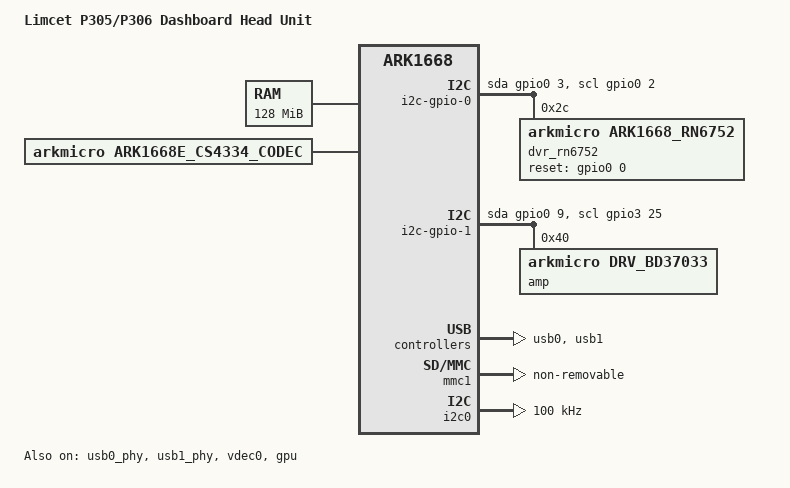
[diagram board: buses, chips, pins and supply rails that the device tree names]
// SPDX-License-Identifier: GPL-2.0
/dts-v1/;
#include "ark1668.dtsi"
#include "ark1668-pinctrl.dtsi"
#include <dt-bindings/gpio/gpio.h>

/ {
	model = "Limcet P305/P306 Dashboard Head Unit";
	compatible = "arkmicro,ark1668-limcet", "arkmicro,ark1668";

	memory {
		reg = <0x0 0x8000000>; // 128MB RAM
	};

	// Reversing signal detection -- NOT a SoC GPIO on this product, and
	// the carback node above (removed 2026-07-17) never should have had
	// one. docs/HARDWARE_AND_SOC_REFERENCE.md §7 traced this to ground:
	// the real kernel's `carback` platform_device has an all-zero
	// platform_data struct (no GPIO baked in), and MsnCoreApp's active
	// MCU adapter for this product (MCUAdapter_BoxP300, McuType=6) never
	// touches GPIOOperater for it -- reverse-gear detection happens
	// entirely on the companion STM32F105 MCU (wired directly to the
	// vehicle's reverse-light circuit, confirmed by physical board
	// inspection too), which just sends a `backcar enable/disable`
	// command to the SoC over the existing HS-UART arktool link
	// (mcu_serial below). Its former detect-gpios (&gpio0 5) was
	// pinctrl pin 5 = LCD r3 on real hardware -- a silent conflict with
	// the display, for a GPIO that was never real in the first place.

	// ARK1680 on-SoC resistive ADC touchscreen — this is the touch path
	// this unit's stock firmware actually selects (see
	// docs/boot_experiment_log.md "ROOT CAUSE FOUND" and
	// docs/ARK1680_TS_REVERSE_ENGINEERING.md), not the GT911 node below.
	tsc: tsc@e4500000 {
		compatible = "arkmicro,ark1680-ts";
		reg = <0xe4500000 0x40>;
		interrupt-parent = <&vicl>;
		interrupts = <4>;
	};

	mcu_serial: mcu-serial@0 {
		compatible = "arkmicro,ark-mcu-serial";
	};

	tool_serial: tool-serial@0 {
		compatible = "arkmicro,ark-tool-serial";
	};

	// Bit-banged I2C Bus 0 (Analog I2C)
	i2c-gpio-0 {
		#address-cells = <1>;
		#size-cells = <0>;
		compatible = "i2c-gpio";
		gpios = <&gpio0 3 0		/* SDA (GPIO 3) */
			 &gpio0 2 0		/* SCL (GPIO 2) */
		>;
		i2c-gpio,delay-us = <6>;
		i2c-gpio,scl-output-only;

		// Richwave RN6752 AHD Camera Decoder
		dvr_rn6752: dvr_rn6752@2c {
			compatible = "arkmicro,ark1668_rn6752";
			reg = <0x2c>;
			reset-gpio = <&gpio0 0 0>;
			carback-config = <1>;
		};

		// Goodix GT911 Touchscreen Controller -- disabled (2026-07-17).
		// This unit's real touch path is the ARK1680 on-SoC resistive
		// controller (tsc@e4500000 above), not this node -- already
		// documented there. A full pin audit against real stock
		// hardware confirmed it further: every one of this node's four
		// GPIO/pin assignments lands on a pin something else genuinely
		// owns on real hardware -- irq-gpios (&gpio0 4) is pinctrl pin
		// 4 = LCD r2, reset-gpios (&gpio2 16) is pinctrl pin 80 =
		// pwm-2, and its I2C bus (i2c-gpio-0 below) sits on LCD r0/r1.
		// Not "slightly wrong wiring" -- a node with zero legitimate
		// pins on this board, almost certainly carried over unmodified
		// from a different board variant. Left in place but disabled
		// rather than deleted, in case pins are ever confirmed for a
		// real capacitive-touch variant of this board.
		gt911: touchscreen@5d {
			compatible = "goodix,gt911";
			reg = <0x5d>;
			interrupt-parent = <&gpio0>;
			interrupts = <4 IRQ_TYPE_EDGE_FALLING>;
			irq-gpios = <&gpio0 4 GPIO_ACTIVE_HIGH>;
			reset-gpios = <&gpio2 16 GPIO_ACTIVE_HIGH>;
			touchscreen-inverted-x;
			status = "disabled";
		};

	};

	// Bit-banged I2C Bus 1
	i2c-gpio-1 {
		#address-cells = <1>;
		#size-cells = <0>;
		compatible = "i2c-gpio";
		gpios = <&gpio0 9 0		/* SDA (GPIO 9) */
			 &gpio3 25 0		/* SCL (GPIO 121) */
		>;
		i2c-gpio,delay-us = <6>;
		i2c-gpio,scl-output-only;

		// ROHM BD37033FV Sound Processor. Moved back here from
		// i2c-gpio-0 (2026-07-13) after getting a live root shell on
		// real stock hardware (via the msn_autocopy telnetd payload)
		// and running i2c-scan directly against stock's own
		// /dev/i2c-*: /sys/bus/i2c/devices/2-0041 shows a kernel
		// i2c_client bound on stock's i2c-gpio2 -- i.e. exactly these
		// SDA=GPIO9/SCL=GPIO121 pins, not i2c-gpio-0/GPIO2-3 where an
		// earlier session moved it based on a misread of i2c-scan's
		// XX marker (XX only means a driver is bound, not that the
		// device answers -- see docs/I2C_GPIO0_LCD_PIN_CONFLICT.md).
		// Bus placement confirmed correct via that path. CONFIG_SND_
		// SOC_BD37033_NOP must stay OFF, this is real, addressable
		// hardware.
		//
		// Address corrected 0x41 -> 0x40 (2026-07-14). The 0x41 value
		// came only from disassembling stock's *kernel* board file's
		// i2c_board_info struct + the i2c-scan XX marker above --
		// both just prove a kernel i2c_client got registered at that
		// address, not that the chip answers there (same class of
		// mistake the XX-marker note above already flags for other
		// devices). Ground truth is what the vendor's own shipped
		// userspace audio-control code actually uses at runtime:
		// disassembly of libMsnSound.so's Sound_BD37033::Sound_BD37033()
		// constructor shows `I2COperator(bus=2, addr=0x80)`, and
		// libMsnCommons.so's arki2c_open() does `ioctl(fd, I2C_SLAVE,
		// addr >> 1)` -- i.e. the real wire address is 0x80 >> 1 =
		// 0x40, matching the BD37033 datasheet's public 7-bit address.
		// This also fully explains the persistent bd37033_write_byte
		// timeout seen throughout this investigation (including on
		// stock's own kernel dmesg, see docs/I2C_GPIO0_LCD_PIN_CONFLICT.md):
		// stock's *kernel-level* i2c_client was always misaddressed
		// too, its writes just never mattered because stock's real
		// control path bypasses the kernel driver entirely via direct
		// /dev/i2c-2 ioctls at the correct address. Not yet hardware-
		// retested with this fix.
		amp: drv_bd37033@40 {
			status = "okay";
			compatible = "arkmicro,drv_bd37033";
			reg = <0x40>;
			flout-gain = <65>;
			frout-gain = <65>;
			rlout-gain = <65>;
			rrout-gain = <65>;
			#sound-dai-cells = <0>;
		};
	};

	// External Cirrus Logic CS4334 I2S DAC. Stock's own board file binds
	// this as a second dai-link ("cs4334 <-> ark_i2s_dev.1 mapping ok" in
	// docs/logs/dmesg live device kernel 3.4 dmeg.txt) but it never
	// produces a usable PCM device -- live `aplay -l` on stock hardware
	// (docs/logs/audio log stock.txt) shows exactly ONE playback device,
	// "card 0: ARKSDDAC [ARK-SDDAC], device 0: SDDAC sddac-hifi-0" --
	// i.e. stock's actual, working playback path is the INTERNAL SDDAC
	// (ark_i2s_dev.0), not CS4334. The 2026-07-16 pivot to CS4334 as the
	// primary playback dai-link (based on the KERNEL_REFERENCE.md module
	// table + that "mapping ok" line alone) was the wrong turn -- same
	// class of mistake as trusting an I2C "XX" marker or a DAI mapping
	// line as proof of a *working* path rather than just a *registered*
	// one (feedback_bootlog_evidence_weak). Reverted below; this node
	// kept (unreferenced) since it's harmless and stock's own driver
	// graph still includes it, even though it's a dead end for audio.
	cs4334_codec: cs4334-codec {
		compatible = "arkmicro,ark1668e_cs4334_codec";
		#sound-dai-cells = <0>;
	};

	// Audio Card configuration
	sound {
		compatible = "simple-audio-card";
		simple-audio-card,format = "i2s";
		// Matches stock's card name exactly (soc-audio.0 machine driver,
		// "ASoC machine ARK-SDDAC" in dmesg / "card 0: ARKSDDAC
		// [ARK-SDDAC]" in aplay -l) -- purely cosmetic/diagnostic parity,
		// not required for function.
		simple-audio-card,name = "ARK-SDDAC";

		// BD37033 (&amp) is control-only from this card's point of view --
		// no I2S DAI stream of its own, just I2C-driven mixer controls
		// ("PA Volume" etc, see sound/soc/arkmicro/BD37033.c). Without
		// listing it as an aux-dev, devm_snd_soc_register_component()
		// still registers the component driver (see bd37033_drv_probe),
		// but its controls are only ever added to a card's kcontrol list
		// when the component is bound into that card -- which never
		// happened here, since no dai-link below references &amp. That's
		// why "PA Volume"/"PA Mute" never appeared in `amixer scontrols`
		// even on boots where the I2S data path and I2C bus were both
		// fine (2026-07-14, see docs/AUDIO_SUBSYSTEM_INVESTIGATION.md).
		simple-audio-card,aux-devs = <&amp>;

		// DAC/playback link listed FIRST (2026-07-13) so it lands on
		// PCM device 0, matching /etc/asound.conf's hardcoded
		// dmix slave "hw:0,0" -- simple-audio-card assigns device
		// numbers by dai-link order, and with ADC first the playback
		// device landed on hw:0,1 instead, causing every dmix/softvol
		// PCM to fail with "unable to open slave" at MsnCoreApp
		// startup (see docs/AUDIO_SUBSYSTEM_INVESTIGATION.md). Only
		// the DTS order changed here; asound.conf is untouched
		// (shared with stock, which the reg errors elsewhere suggest
		// expects device 0 to be playback).
		simple-audio-card,dai-link@0 { /* I2S DAC link -- internal SDDAC, stock's real playback path */
			simple-audio-card,stream-name = "sddac-hifi";
			bitclock-master = <&playback_cpu>;
			frame-master = <&playback_cpu>;
			playback_cpu: cpu {
				sound-dai = <&i2s_dac>;
			};
			playback_codec: codec {
				sound-dai = <&sddac>;
			};
		};
		simple-audio-card,dai-link@1 { /* I2S ADC link */
			cpu {
				sound-dai = <&i2s_adc>;
			};
			codec {
				sound-dai = <&sdadc>;
			};
		};
	};
};

&usb0_phy {
	compatible = "usb-nop-xceiv";
	#phy-cells = <0>;
	status = "okay";
};

&usb1_phy {
	compatible = "usb-nop-xceiv";
	#phy-cells = <0>;
	status = "okay";
};

&usb0 {
	status = "okay";
};

&usb1 {
	/* interrupts = <40>, <39> (added 2026-07-16, bundled into an
	 * unrelated I2S commit with no explanation) was wrong -- vich
	 * (arch/arm/boot/dts/ark1668.dtsi's interrupt-parent for this node)
	 * is a single arm,pl192-vic with only 32 lines (#interrupt-cells=1,
	 * valid range 0-31). 40 and 39 are out of range for that domain.
	 * 40-32=8 and 39-32=7 exactly match ark1668.dtsi's original values
	 * for this node -- this override looks like a global/SoC-wide
	 * interrupt-numbering reference (where vich's lines might be
	 * documented as a conceptual 32-63) mistakenly used as the raw,
	 * VIC-local interrupt number this property actually needs. This is
	 * the direct cause of "musb-ark e0400000.usb: Failed to get irq" /
	 * "probe of e0400000.usb failed with error -22", seen in every
	 * single boot log since this override was added -- confirmed the
	 * onboard WiFi module and the external-facing USB port are on
	 * separate physical controllers (usb0/usb1), and this is why they
	 * couldn't work at the same time: usb1 never successfully probed at
	 * all. Dropping the override restores the known-good base values. */
	status = "okay";
};

// Console debug UART
&uart0 {
	use-in-kernel;
	use-for-tool;
};

&uart1 {
	status = "disabled";
};

// High-speed MCU Communication UART
&uart3 {
	use-in-kernel;
	use-for-mcu;
};

// LCD Framebuffer Configuration
//
// pinctrl-0 reverted to the stock full pinctrl_lcd_rgb888 group
// (2026-07-17). A previous commit (cce2b32e7) swapped this for a custom
// pinctrl_lcd_prado group that dropped r0, r1, and r7 -- 3 of the 8
// red-channel pins, including the MSB -- to free GPIO 2/3/9 for
// i2c-gpio-0/i2c-gpio-1 bit-banging. That justification cited a doc
// (docs/I2C_GPIO0_LCD_PIN_CONFLICT.md) that was never actually created
// -- the pin choice was never validated against real board wiring, it
// was just assumed from the DTS file's first commit onward. Losing the
// red MSB while green/blue stayed full 8-bit produced visible red
// banding/overlay on real hardware. Since the framebuffer is still
// programmed as 32bpp/RGB888 (bits-per-pixel below), the LCD controller
// was never told to actually run at a reduced depth either -- pins were
// just silently dropped from pinctrl while the peripheral kept shifting
// out a full 24-bit-wide signal.
//
// This also very likely explains the chronic i2c-gpio-0/i2c-gpio-1
// unreliability seen throughout this project (Goodix-TS i2c failures,
// bd37033 i2c_transfer timeouts on every boot) -- those buses share
// GPIO 2/3/9 with the LCD's red channel, so the LCD controller actively
// toggling those pins as pixel timing and the kernel bit-banging I2C on
// them at the same time would corrupt both. The SoC has a real, separate
// hardware I2C controller (i2c0 @ 0xe4300000, pinctrl_i2c0 on
// ARK_PBANK_2 pins 6/7, see ark1668-pinctrl.dtsi) that doesn't touch any
// LCD pin -- moving GT911/RN6752/BD37033 onto it is a promising follow-up
// but needs an i2c-scan on hardware first to confirm those devices are
// actually wired to i2c0's pins before committing to it.
&lcdc {
	display = <&display0>;
	pinctrl-names = "default";
	pinctrl-0 = <&pinctrl_lcd_base &pinctrl_lcd_rgb888>;

	display0: display@0 {
		interface-type = "TTL";
		lvds-con = <0x160fd>;
		bits-per-pixel = <32>;
		power-control-gpio = <&gpio2 17 GPIO_ACTIVE_HIGH>; /* LCD power enable pin (GPIO 81) */
		lcd-wiring-mode = "BGR";
		lcdcon-backlight;
		pwms = <&pwm0 1 50000>; /* Backlight PWM Channel 1 */
		pwm-names = "backlight";
		backlight-value = <20>;
		backlight-delay = <200>;

		display-timings {
			native-mode = <&timing0>;
			timing0: timing0 {
				/* Was guessed/wrong -- corrected 2026-07-18 to match
				 * Prado's own real, dumped panel timing exactly:
				 * firmware_source/prado_reconstructed/mtd4_arkdata/
				 * arkdata.ini, [LCD_TIMMING]/[LCD_CLOCK] for
				 * ScreenId=0 (the authoritative Stage-1 timing
				 * source, see docs/DISPLAY_SUBSYSTEM.md). hfront-porch
				 * was 210 here vs the real HFP=25 -- 8x too large --
				 * and every other porch/sync-length value was also
				 * off by a large margin. Wrong back-porch/sync-length
				 * shifts where the active video window starts
				 * relative to the sync pulses, which is exactly what
				 * produces a visibly offset image. clock-frequency
				 * corrected to CLKFreq/CLKDIV1 = 330000000/11 =
				 * 30000000 (was 33000000). Sync polarities
				 * (hsync-active/vsync-active/de-active) were already
				 * correct, matching IHS=1/IVS=1/IOE=0 in the same
				 * arkdata.ini block -- left unchanged. */
				clock-frequency = <30000000>;
				hactive = <800>;
				vactive = <480>;
				hback-porch = <32>;
				hfront-porch = <25>;
				vback-porch = <29>;
				vfront-porch = <25>;
				hsync-len = <54>;
				vsync-len = <16>;
				hsync-active = <1>;
				vsync-active = <1>;
				de-active = <0>;
				pixelclk-active = <0>;
			};
		};
	};
};

&vdec0 {
	status = "okay";
};

// nand-on-flash-bbt (set in ark1668.dtsi) makes the kernel cache its own
// bad-block table to a reserved flash area and trust it on every later
// boot instead of rescanning -- stock's own driver never does this (it
// always rescans real factory OOB markers at boot instead of trusting a
// persisted cache), and a boot where this driver's ECC config couldn't
// correctly decode the existing cache didn't just fail to read it, it
// silently rescanned AND wrote a fresh, wrong table back to physical
// flash -- confirmed happening for real, reproducing the historical
// "417 false bad blocks" bug exactly (see
// prado-firmware-reconstruction's
// docs/historical/HANDOFF_nand_ecc_uboot_vs_kernel.md section 1's
// follow-up). Dropping the property here disables flash-based BBT
// caching entirely for this board -- every boot always does a fresh
// factory-marker scan, kept in RAM only, matching stock's own
// self-healing behavior and never persisting anything to flash again.
&nfc {
	/delete-property/ nand-on-flash-bbt;
};

// SDIO WiFi Controller
&mmc1 {
	status = "okay";
	non-removable;
	broken-cd;
};

&gpu {
	compatible = "arkmicro,vivante-hal", "fsl,imx6q-gpu";
	reg-names = "iobase_3d";
	interrupt-names = "irq_3d";
	clocks = <&gpuclk>, <&gpuclk>, <&gpuclk>, <&gpuclk>, <&gpuclk>, <&gpuclk>;
	clock-names = "gpu3d_clk", "gpu3d_axi_clk", "gpu3d_shader_clk", "gpu2d_clk", "gpu2d_axi_clk", "openvg_axi_clk";
	status = "okay";
};

// DIAGNOSTIC: enabled with no child devices so both this controller and
// i2c-gpio-0 (which still owns the gt911@5d + dvr_rn6752@2c nodes above) are
// live simultaneously. Lets a userspace i2c scan on /dev/i2c-* determine,
// empirically, which physical bus the GT911 actually ACKs on — see
// docs/boot_experiment_log.md "Systematic I2C bus verification" and
// tools/i2c-scan/. Do not attach gt911 here until that scan confirms it.
&i2c0 {
	status = "okay";
	clock-frequency = <100000>;
};

// gpio0's full 0-31 range restored (2026-07-17, reverting an earlier
// change from later the same day). docs/HARDWARE_AND_SOC_REFERENCE.md's
// static disassembly of the real stock 3.4 kernel's own board file (zero
// live-hardware risk, not a guess) confirms pins 2/3 (i2c-gpio-0, RN6752
// reversing-camera decoder) and pin 9 (i2c-gpio-1 SDA, BD37033 sound amp)
// are a DELIBERATE, vendor-accepted pin-share with LCD r0/r1/r7 on real
// hardware -- not a wiring mistake. Stock's own firmware has the exact
// same rn6752_eq_work-reset retry loop and BD37033 write-timeout log
// lines seen in every one of this project's own boot logs; those are
// stock's known, accepted quirk from this sharing, not bugs introduced
// here. Restricting this range (as briefly tried earlier the same day)
// would stop RN6752/BD37033 from probing at all -- a real regression
// versus matching stock, not a fix. What *was* a genuine bug is separate:
// the old pinctrl_lcd_prado override (removed earlier, see &lcdc below)
// permanently/statically dropped r0/r1/r7 from the LCD's own pinctrl-0
// claim, unlike stock which keeps the full RGB888 group continuously
// claimed and only briefly steals these specific pads for GPIO duty
// during actual i2c-gpio bit-bang activity.
&gpio0 {
	gpio-ranges = <&pinctrl0 0 0 32>;
};
